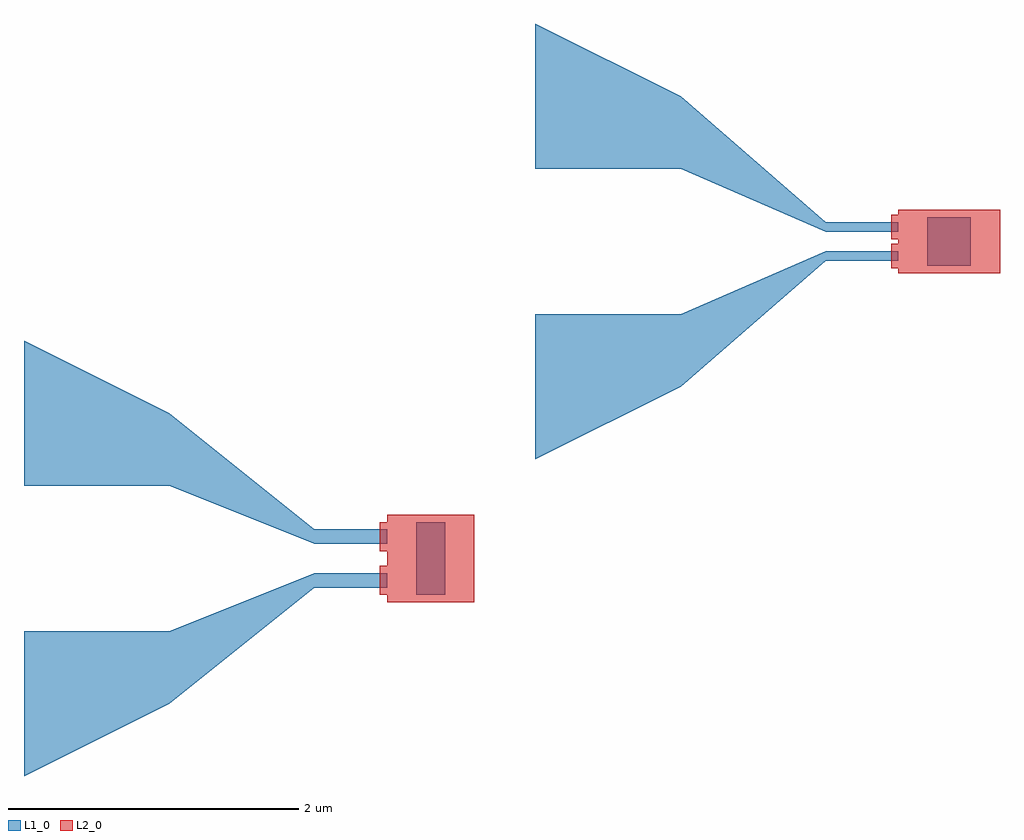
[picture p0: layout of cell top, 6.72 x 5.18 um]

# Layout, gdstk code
import gdstk
lib = gdstk.Library(unit=1e-6, precision=1e-09)
def R(c, l, rs):  # rectangles x0, y0, x1, y1
    for r in rs: c.add(gdstk.rectangle(r[:2], r[2:], *l))
def P(c, l, *ps):  # polygons
    for p in ps: c.add(gdstk.Polygon(p, *l))
L1_0 = (1, 0)
L2_0 = (2, 0)

set_1 = lib.new_cell('SET$1')
R(set_1, L1_0, [(-0.15,-0.167,0.15,0.167), (-0.85,-0.133,-0.35,-0.067), (-0.85,0.067,-0.35,0.133)])
P(set_1, L1_0, [(-2.85,-1.5),(-2.85,-0.5),(-1.85,-0.5),(-0.85,-0.067),(-0.85,-0.133),(-1.85,-1)],
  [(-0.85,0.067),(-1.85,0.5),(-2.85,0.5),(-2.85,1.5),(-1.85,1),(-0.85,0.133)])
R(set_1, L2_0, [(-0.35,-0.217,0.35,0.217), (-0.4,-0.183,-0.35,-0.017), (-0.4,0.017,-0.35,0.183)])

set = lib.new_cell('SET')
R(set, L1_0, [(-0.1,-0.25,0.1,0.25), (-0.8,-0.2,-0.3,-0.1), (-0.8,0.1,-0.3,0.2)])
P(set, L1_0, [(-2.8,-1.5),(-2.8,-0.5),(-1.8,-0.5),(-0.8,-0.1),(-0.8,-0.2),(-1.8,-1)],
  [(-0.8,0.1),(-1.8,0.5),(-2.8,0.5),(-2.8,1.5),(-1.8,1),(-0.8,0.2)])
R(set, L2_0, [(-0.3,-0.3,0.3,0.3), (-0.35,-0.25,-0.3,-0.05), (-0.35,0.05,-0.3,0.25)])

top = lib.new_cell('top')
top.add(gdstk.Reference(set_1, (0.203,2.676)))
r = gdstk.Reference(set, (-3.368,0.493)); r.repetition = gdstk.Repetition(2, 1, v1=(0,0), v2=(0,0)); top.add(r)

lib.write_gds('top.gds')
